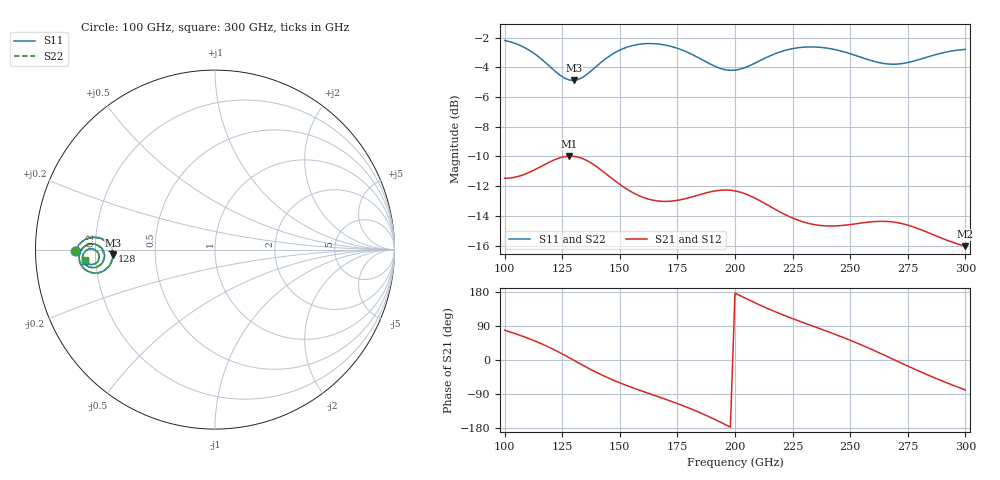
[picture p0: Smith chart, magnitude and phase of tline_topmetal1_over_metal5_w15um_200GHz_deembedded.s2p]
! Created with skrf 2.2.0 (http://scikit-rf.org).
# GHz S DB R 50.0
! Port[1] = P1
! Port[2] = P2
!freq dBS11 angS11 dBS21 angS21 dBS12 angS12 dBS22 angS22
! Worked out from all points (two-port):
!   101 points, 100 GHz to 300 GHz, reference 50 ohm
!   highest |S21| = -9.98 dB at 128 GHz (marker M1); lowest = -16.0 dB at 300 GHz (marker M2)
!   |S21| within 3 dB of the highest: start of sweep to 165.6 GHz; 174 GHz to 210.8 GHz (36.73 GHz wide, 19.1 % of centre)
!   lowest |S11| = -4.9 dB at 130 GHz (marker M3), VSWR 3.65, Z = 13.7 - j1.29 ohm
!   |S11| at or under -10 dB: nowhere
!   |S22| runs from -4.8 to -2.2 dB; largest |S21 - S12| = 2.8e-14
!   S11 on the Smith chart (normalised r, x): 100 GHz: 0.13, -0.00; 128 GHz: 0.27, -0.01; 300 GHz: 0.16, -0.04
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100  -2.20 -179.4  -11.47 78.8  -11.47 78.8  -2.19 -179.3
110  -2.79 175.5  -11.12 57.8  -11.12 57.8  -2.77 175.7
116  -3.45 174.1  -10.66 42.9  -10.66 42.9  -3.43 174.3
122  -4.28 175.4  -10.20 25.6  -10.20 25.6  -4.24 175.6
128  -4.86 -179.2  -9.98 6.2  -9.98 6.2  -4.81 -179.1
130  -4.89 -176.8  -9.99 -0.6  -9.99 -0.6  -4.84 -176.7
134  -4.67 -172.4  -10.15 -14.0  -10.15 -14.0  -4.62 -172.4
140  -3.92 -169.0  -10.69 -33.1  -10.69 -33.1  -3.88 -169.0
148  -3.00 -169.8  -11.65 -55.2  -11.65 -55.2  -2.98 -169.8
158  -2.46 -174.0  -12.62 -78.5  -12.62 -78.5  -2.45 -174.0
168  -2.46 -178.5  -13.02 -99.7  -13.02 -99.7  -2.44 -178.5
184  -3.35 177.3  -12.60 -136.9  -12.60 -136.9  -3.32 177.4
192  -3.98 179.2  -12.30 -159.2  -12.30 -159.2  -3.94 179.2
200  -4.19 -176.0  -12.32 176.7  -12.32 176.7  -4.15 -176.0
208  -3.77 -172.2  -12.75 152.8  -12.75 152.8  -3.73 -172.2
216  -3.18 -171.7  -13.43 131.1  -13.43 131.1  -3.15 -171.8
234  -2.63 -176.6  -14.57 88.9  -14.57 88.9  -2.61 -176.6
252  -3.19 179.7  -14.54 47.1  -14.54 47.1  -3.16 179.7
268  -3.79 -176.9  -14.40 3.8  -14.40 3.8  -3.76 -176.9
276  -3.65 -174.1  -14.67 -18.8  -14.67 -18.8  -3.62 -174.2
284  -3.29 -173.0  -15.13 -40.3  -15.13 -40.3  -3.27 -173.1
300  -2.80 -175.2  -16.04 -79.2  -16.04 -79.2  -2.78 -175.3
